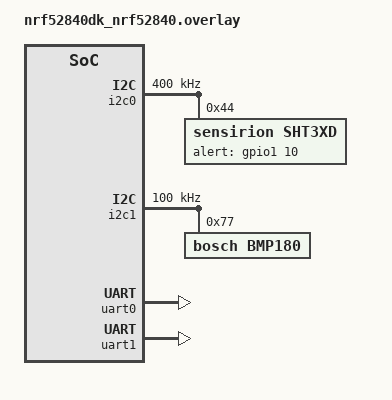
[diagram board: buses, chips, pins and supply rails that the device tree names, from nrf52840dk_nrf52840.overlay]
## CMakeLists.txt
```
cmake_minimum_required(VERSION 3.20.0)
find_package(Zephyr REQUIRED HINTS $ENV{ZEPHYR_BASE})

project(gyro_sensor_driver)

target_sources(app PRIVATE src/main.c)
```

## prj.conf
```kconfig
CONFIG_I2C=y
CONFIG_SENSOR=y
CONFIG_PWM=y
CONFIG_CBPRINTF_FP_SUPPORT=y
CONFIG_NCS_SAMPLES_DEFAULTS=y

CONFIG_UART_LINE_CTRL=y
CONFIG_BMP180=y
CONFIG_GPIO=y
CONFIG_UART_ASYNC_API=y
CONFIG_UART_1_ASYNC=y
```

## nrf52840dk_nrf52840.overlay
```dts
// To get started, press Ctrl+Space to bring up the completion menu and view the available nodes.

// You can also use the buttons in the sidebar to perform actions on nodes.
// Actions currently available include:

// * Enabling / disabling the node
// * Adding the bus to a bus
// * Removing the node
// * Connecting ADC channels

// For more help, browse the DeviceTree documentation at https://docs.zephyrproject.org/latest/guides/dts/index.html
// You can also visit the nRF DeviceTree extension documentation at https://nrfconnect.github.io/vscode-nrf-connect/devicetree/nrfdevicetree.html


&i2c0 {
    clock-frequency = <I2C_BITRATE_FAST>;
    status = "ok";

    sht3xd@44 {
        compatible = "sensirion,sht3xd";
        reg = <0x44>;
        alert-gpios = <&gpio1 10 GPIO_ACTIVE_HIGH>;
    };
};


&i2c1 {
    status ="okay";
	clock-frequency = <I2C_BITRATE_STANDARD>;
    bmp180@77 {
		status = "okay";
		compatible = "bosch,bmp180";
		reg = <0x77>;
		model = "bmp180";
	};

};

&uart0 {
	status = "okay";
	hw-flow-control;
};

&uart1 {
    status = "okay";
};

&pinctrl {
    i2c1_default: i2c1_default {
		group1 {
			psels = <NRF_PSEL(TWIM_SDA, 0, 31)>,
				<NRF_PSEL(TWIM_SCL, 0, 30)>;
            bias-pull-up;
		};
	};
};
```

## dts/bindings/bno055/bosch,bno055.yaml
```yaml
description: Bosch Gyro Accelerometer

compatible: "bosch,bno055"

include: i2c-device.yaml

properties:
  model:
    type: string
    required: true
    description: |
      The sensor model in use
    enum:
        - "bno055"
```

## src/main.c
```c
#include <zephyr/kernel.h>
#include <zephyr/device.h>
#include <zephyr/drivers/i2c.h>
#include <zephyr/sys/printk.h>
#include <zephyr/logging/log.h>
#include <zephyr/drivers/sensor.h>
#include <sensor/bmp180/bmp180.h>
#include <math.h>
#include <zephyr/drivers/gpio.h>
#include <zephyr/drivers/uart.h>
#include <stdio.h>



#define SLEEP_TIME_MS 1000

#define UART1_NODE DT_NODELABEL(uart1)
static const struct device *uart_dev = DEVICE_DT_GET(UART1_NODE);

static char tx_buf[64];

void send_data_over_uart(const char *data) {
    uart_tx(uart_dev, data, strlen(data), SYS_FOREVER_MS);
}

int main(void) {
    const struct device *const sht_dev = DEVICE_DT_GET_ONE(sensirion_sht3xd);
    const struct device *const bmp_dev = DEVICE_DT_GET_ANY(bosch_bmp180);
    int rc;

    if (!device_is_ready(sht_dev)) {
        printf("SHT3XD device is not ready\n");
        return 0;
    }

    if (!device_is_ready(bmp_dev)) {
        printf("BMP180 device is not ready\n");
        return 0;
    }

    if (!device_is_ready(uart_dev)) {
        printf("UART device not ready\n");
        return 0;
    }

    while (true) {
        struct sensor_value temp, hum, press;

        // Fetch temperature and humidity from SHT3XD
        rc = sensor_sample_fetch(sht_dev);
        if (rc == 0) {
            rc = sensor_channel_get(sht_dev, SENSOR_CHAN_AMBIENT_TEMP, &temp);
        }
        if (rc == 0) {
            rc = sensor_channel_get(sht_dev, SENSOR_CHAN_HUMIDITY, &hum);
        }
        if (rc != 0) {
            printf("SHT3XD: failed: %d\n", rc);
            break;
        }

        double temperature = sensor_value_to_double(&temp);
        double humidity = sensor_value_to_double(&hum);

        // Fetch pressure from BMP180
        rc = bmp180_sample_fetch(bmp_dev, SENSOR_CHAN_ALL);
        if (rc == 0) {
            rc = bmp180_channel_get(bmp_dev, SENSOR_CHAN_PRESS, &press);
        }
        if (rc != 0) {
            printf("BMP180: failed: %d\n", rc);
            break;
        }

        double pressure = press.val1 + (press.val2 / 1000000.0);

        // Format the data as a string
        snprintf(tx_buf, sizeof(tx_buf), "Temperature: %.2f C, Humidity: %.2f%%, Pressure: %.2f Pa\n", temperature, humidity, pressure);

        // Send the data over UART
        send_data_over_uart(tx_buf);

        printf("Sent over UART: %s", tx_buf);

        k_msleep(SLEEP_TIME_MS);
    }
    return 0;
}
```
